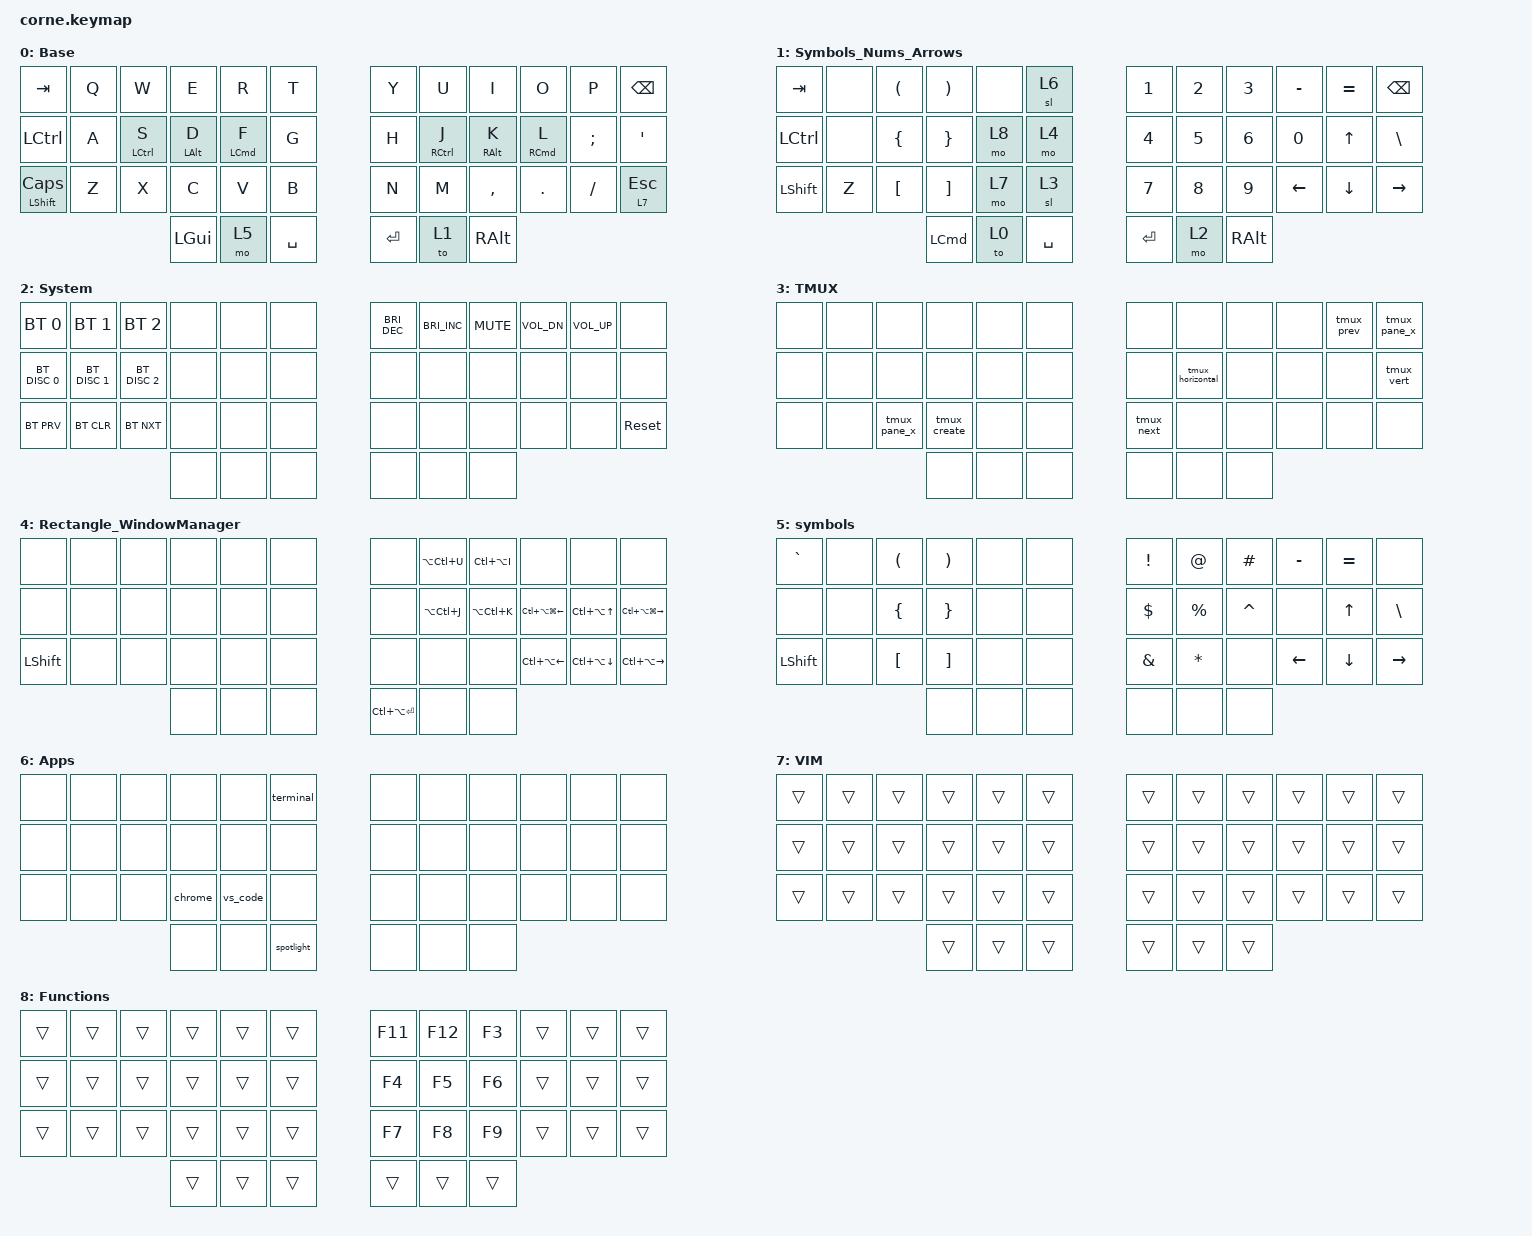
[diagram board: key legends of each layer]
/*
 * Copyright (c) 2020 The ZMK Contributors
 *
 * SPDX-License-Identifier: MIT
 */

#include <behaviors.dtsi>
#include <dt-bindings/zmk/bt.h>
#include <dt-bindings/zmk/keys.h>

/ {
    macros {
        terminal: terminal {
            compatible = "zmk,behavior-macro";
            #binding-cells = <0>;
            bindings =
                <&kp BACKSPACE &kp LG(SPACE)>,
                <&macro_release>,
                <&kp I &kp T &kp E &kp R &kp M &kp RETURN>;

            label = "TERMINAL";
        };

        vs_code: vs_code {
            compatible = "zmk,behavior-macro";
            #binding-cells = <0>;
            bindings =
                <&kp BACKSPACE &kp LG(SPACE)>,
                <&macro_wait_time 10>,
                <&kp LS(V) &kp I &kp S &kp U &kp A &kp L &kp SPACE &kp LS(S) &kp T &kp U &kp D &kp I &kp O &kp SPACE &kp LS(C) &kp O &kp D &kp E &kp RETURN>;

            label = "VS_CODE";
        };

        tmux_horizontal: tmux_horizontal {
            compatible = "zmk,behavior-macro";
            #binding-cells = <0>;
            bindings = <&kp LC(B) &kp PRCNT>;
            label = "TMUX_HORIZONTAL";
        };

        tmux_vert: tmux_vert {
            compatible = "zmk,behavior-macro";
            #binding-cells = <0>;
            bindings = <&kp LC(B) &kp DQT>;
            label = "TMUX_VERT";
        };

        tmux_create: tmux_create {
            compatible = "zmk,behavior-macro";
            #binding-cells = <0>;
            bindings = <&kp LC(B) &kp C>;
            label = "TMUX_CREATE";
        };

        tmux_pane_x: tmux_pane_x {
            compatible = "zmk,behavior-macro";
            #binding-cells = <0>;
            bindings = <&kp LC(B) &kp X &kp Y>;
            label = "TMUX_PANE_X";
        };

        tmux_next: tmux_next {
            compatible = "zmk,behavior-macro";
            #binding-cells = <0>;
            bindings = <&kp LC(B) &kp N>;
            label = "TMUX_NEXT";
        };

        tmux_prev: tmux_prev {
            compatible = "zmk,behavior-macro";
            #binding-cells = <0>;
            bindings = <&kp LC(B) &kp P>;
            label = "TMUX_PREV";
        };

        tmux_window_x: tmux_window_x {
            compatible = "zmk,behavior-macro";
            #binding-cells = <0>;
            bindings = <&kp LC(B) &kp AMPS &kp Y>;
            label = "TMUX_WINDOW_X";
        };

        chrome: chrome {
            compatible = "zmk,behavior-macro";
            #binding-cells = <0>;
            bindings =
                <&kp BACKSPACE &spotlight>,
                <&macro_press>,
                <&kp C &kp H &kp R &kp O &kp M &kp E &kp RETURN>;

            label = "CHROME";
        };

        spotlight: spotlight {
            compatible = "zmk,behavior-macro";
            #binding-cells = <0>;
            bindings = <&kp LG(SPACE)>;
            label = "SPOTLIGHT";
        };
    };

    keymap {
        compatible = "zmk,keymap";

        Base {
            // -----------------------------------------------------------------------------------------
            // |  TAB |  Q  |  W  |  E  |  R  |  T  |   |  Y  |  U   |  I  |  O  |  P  | BKSP |
            // | CTRL |  A  |  S  |  D  |  F  |  G  |   |  H  |  J   |  K  |  L  |  ;  |  '   |
            // | SHFT |  Z  |  X  |  C  |  V  |  B  |   |  N  |  M   |  ,  |  .  |  /  | ESC  |
            //                    | GUI | LWR | SPC |   | ENT | RSE  | ALT |

            bindings = <
&kp TAB                  &kp Q  &kp W               &kp E           &kp R               &kp T        &kp Y       &kp U                &kp I            &kp O                &kp P     &kp BSPC
&kp LCTRL                &kp A  &mt LEFT_CONTROL S  &mt LEFT_ALT D  &mt LEFT_COMMAND F  &kp G        &kp H       &mt RIGHT_CONTROL J  &mt RIGHT_ALT K  &mt RIGHT_COMMAND L  &kp SEMI  &kp SQT
&mt LEFT_SHIFT CAPSLOCK  &kp Z  &kp X               &kp C           &kp V               &kp B        &kp N       &kp M                &kp COMMA        &kp DOT              &kp FSLH  &lt 7 ESCAPE
                                                    &kp LGUI        &mo 5               &kp SPACE    &kp RETURN  &to 1                &kp RALT
            >;
        };

        Symbols_Nums_Arrows {
            bindings = <
&kp TAB         &none  &kp LEFT_PARENTHESIS  &kp RIGHT_PARENTHESIS  &none  &sl 6        &kp NUMBER_1  &kp NUMBER_2  &kp NUMBER_3   &kp MINUS       &kp EQUAL       &kp BACKSPACE
&kp LCTRL       &none  &kp LEFT_BRACE        &kp RIGHT_BRACE        &mo 8  &mo 4        &kp NUMBER_4  &kp N5        &kp N6         &kp N0          &kp UP_ARROW    &kp BACKSLASH
&kp LEFT_SHIFT  &kp Z  &kp LEFT_BRACKET      &kp RIGHT_BRACKET      &mo 7  &sl 3        &kp N7        &kp N8        &kp N9         &kp LEFT_ARROW  &kp DOWN_ARROW  &kp RIGHT_ARROW
                                             &kp LEFT_COMMAND       &to 0  &kp SPACE    &kp RETURN    &mo 2         &kp RIGHT_ALT
            >;
        };

        System {
            bindings = <
&bt BT_SEL 0   &bt BT_SEL 1   &bt BT_SEL 2   &none  &none  &none    &kp C_BRI_DEC  &kp C_BRIGHTNESS_INC  &kp K_MUTE  &kp C_VOL_DN  &kp C_VOLUME_UP  &none
&bt BT_DISC 0  &bt BT_DISC 1  &bt BT_DISC 2  &none  &none  &none    &none          &none                 &none       &none         &none            &none
&bt BT_PRV     &bt BT_CLR     &bt BT_NXT     &none  &none  &none    &none          &none                 &none       &none         &none            &sys_reset
                                             &none  &none  &none    &none          &none                 &none
            >;
        };

        TMUX {
            bindings = <
&none  &none  &none         &none         &none  &none    &none       &none             &none  &none  &tmux_prev  &tmux_pane_x
&none  &none  &none         &none         &none  &none    &none       &tmux_horizontal  &none  &none  &none       &tmux_vert
&none  &none  &tmux_pane_x  &tmux_create  &none  &none    &tmux_next  &none             &none  &none  &none       &none
                            &none         &none  &none    &none       &none             &none
            >;
        };

        Rectangle_WindowManager {
            bindings = <
&none           &none  &none  &none  &none  &none    &none            &kp LA(LC(U))  &kp LC(LA(I))  &none                       &none             &none
&none           &none  &none  &none  &none  &none    &none            &kp LA(LC(J))  &kp LA(LC(K))  &kp LC(LA(LG(LEFT_ARROW)))  &kp LC(LA(UP))    &kp LC(LA(LG(RIGHT)))
&kp LEFT_SHIFT  &none  &none  &none  &none  &none    &none            &none          &none          &kp LC(LA(LEFT))            &kp LC(LA(DOWN))  &kp LC(LA(RIGHT))
                              &none  &none  &none    &kp LC(LA(RET))  &none          &none
            >;
        };

        symbols {
            bindings = <
&kp GRAVE       &none  &kp LEFT_PARENTHESIS  &kp RIGHT_PARENTHESIS  &none  &none    &kp EXCLAMATION  &kp AT_SIGN   &kp HASH   &kp MINUS  &kp EQUAL     &none
&none           &none  &kp LEFT_BRACE        &kp RIGHT_BRACE        &none  &none    &kp DOLLAR       &kp PERCENT   &kp CARET  &none      &kp UP_ARROW  &kp BACKSLASH
&kp LEFT_SHIFT  &none  &kp LEFT_BRACKET      &kp RIGHT_BRACKET      &none  &none    &kp AMPERSAND    &kp ASTERISK  &none      &kp LEFT   &kp DOWN      &kp RIGHT
                                             &none                  &none  &none    &none            &none         &none
            >;
        };

        Apps {
            bindings = <
&none  &none  &none  &none    &none     &terminal     &none  &none  &none  &none  &none  &none
&none  &none  &none  &none    &none     &none         &none  &none  &none  &none  &none  &none
&none  &none  &none  &chrome  &vs_code  &none         &none  &none  &none  &none  &none  &none
                     &none    &none     &spotlight    &none  &none  &none
            >;
        };

        VIM {
            bindings = <
&trans  &trans  &trans  &trans  &trans  &trans    &trans  &trans  &trans  &trans  &trans  &trans
&trans  &trans  &trans  &trans  &trans  &trans    &trans  &trans  &trans  &trans  &trans  &trans
&trans  &trans  &trans  &trans  &trans  &trans    &trans  &trans  &trans  &trans  &trans  &trans
                        &trans  &trans  &trans    &trans  &trans  &trans
            >;
        };

        Functions {
            bindings = <
&trans  &trans  &trans  &trans  &trans  &trans    &kp F11  &kp F12  &kp F3  &trans  &trans  &trans
&trans  &trans  &trans  &trans  &trans  &trans    &kp F4   &kp F5   &kp F6  &trans  &trans  &trans
&trans  &trans  &trans  &trans  &trans  &trans    &kp F7   &kp F8   &kp F9  &trans  &trans  &trans
                        &trans  &trans  &trans    &trans   &trans   &trans
            >;
        };
    };
};
